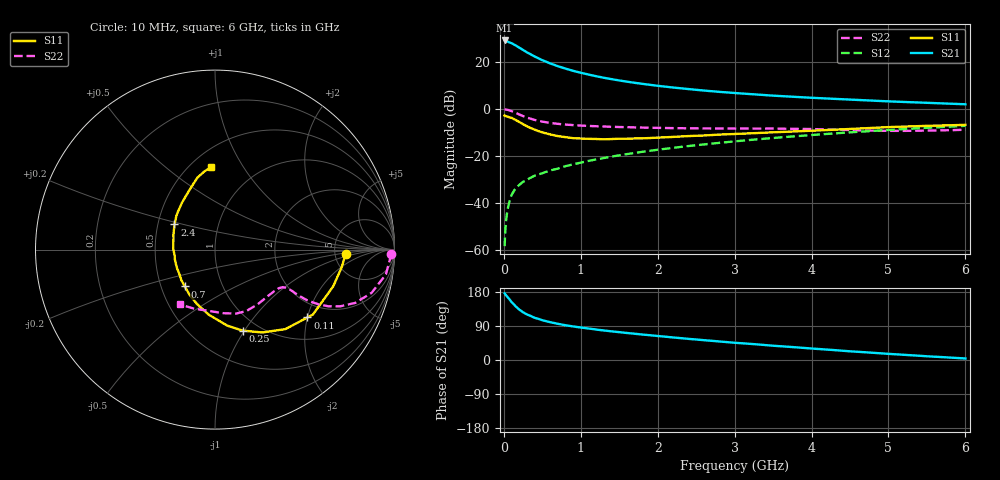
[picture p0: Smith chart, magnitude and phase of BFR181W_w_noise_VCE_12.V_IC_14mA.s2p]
! Infineon Technologies  Discrete & RF Semiconductors
! BFR181W
! VCE =  12. V,  IC =  14 mA
! Common Emitter S-Parameters:  Jan 2017
# GHz  S  MA  R  50
!  f  S11  S21  S12  S22
! GHz  MAG  ANG  MAG  ANG  MAG  ANG  MAG  ANG
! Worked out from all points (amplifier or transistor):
!   77 points, 10 MHz to 6 GHz, reference 50 ohm
!   highest |S21| = 29.2 dB at 10 MHz (marker M1)
!   |S21| within 3 dB of that: start of sweep to 197.6 MHz
!   unconditionally stable (mu >= 1): 986.7 MHz to 2.854 GHz
!   at 130 MHz: K = 0.32, MSG = 31.2 dB, |S12| = -34.9 dB
!   at 2.2 GHz: K = 1.04, MAG = 11.6 dB, |S12| = -16.5 dB
!   at 6 GHz: K = 0.85, MSG = 4.6 dB, |S12| = -7.2 dB
!   lowest NFmin = 1.43 dB at 450 MHz
!   S11 on the Smith chart (normalised r, x): 10 MHz: 6.26, -0.71; 110 MHz: 1.56, -2.00; 250 MHz: 0.84, -0.98; 700 MHz: 0.66, -0.29; 2.4 GHz: 0.61, +0.18; 6 GHz: 0.63, +0.73
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0.01  0.7276 -2.1  28.93 176.0  0.0012 75.9  0.9831 -1.4
0.02  0.7127 -7.9  28.24 173.1  0.0027 81.5  0.9774 -2.9
0.05  0.6896 -17.3  27.38 165.7  0.0074 81.0  0.9623 -8.2
0.1  0.6546 -33.6  25.36 153.0  0.0146 75.2  0.9055 -15.4
0.11  0.6387 -36.3  24.8 151.0  0.0157 73.7  0.891 -16.4
0.15  0.5915 -48.5  22.91 142.3  0.0201 69.5  0.8359 -20.8
0.2  0.5316 -60.3  20.37 133.2  0.0242 67.4  0.7672 -24.3
0.25  0.4764 -71.2  18.14 125.9  0.0282 63.9  0.7083 -26.5
0.3  0.4295 -80.8  16.16 120.2  0.0312 63.4  0.658 -27.8
0.4  0.3645 -95.4  13.18 111.4  0.0381 63.1  0.5866 -28.8
0.5  0.3186 -108.5  11 105.0  0.043 63.2  0.5402 -28.8
0.6  0.2886 -119.5  9.425 99.9  0.0492 64.2  0.5072 -28.5
0.7  0.2656 -129.3  8.207 95.6  0.0537 65.9  0.4845 -28.2
0.9  0.2399 -146.3  6.528 88.6  0.0664 66.8  0.4554 -28.2
1.1  0.2322 -159.7  5.434 83.1  0.0786 68.5  0.4377 -28.7
1.5  0.2331 178.5  4.067 73.5  0.1034 68.9  0.4143 -31.6
2.1  0.2503 156.8  3.001 61.5  0.1425 67.5  0.3951 -39.4
2.4  0.2658 148.2  2.666 55.8  0.1631 66.6  0.3893 -44.3
3.1  0.299 132.6  2.142 44.1  0.2122 63.1  0.384 -56.4
4.1  0.3515 115.4  1.709 28.9  0.2873 56.5  0.371 -73.7
5.1  0.4177 102.5  1.438 15.0  0.3659 48.4  0.3429 -98.1
6  0.4607 92.5  1.265 4.0  0.4386 40.1  0.3626 -122.5
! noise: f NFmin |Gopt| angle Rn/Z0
0.45  1.43  0.06  16  0.21
0.9  1.48  0.06  32  0.21
1.9  1.92  0.11  -141  0.21
2.4  2.13  0.14  -109  0.27
